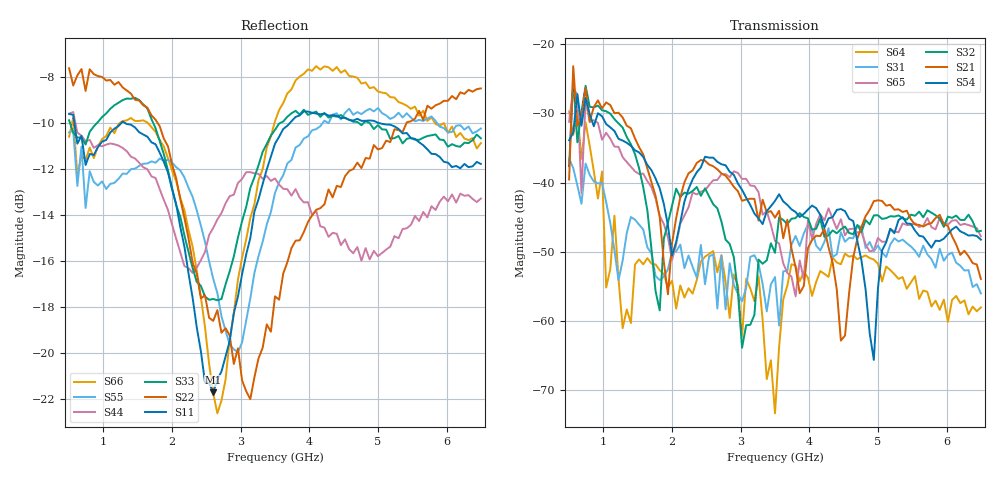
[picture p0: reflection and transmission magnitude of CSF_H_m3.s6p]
!Keysight Technologies,M9804A,MY58100912,A.14.10.03
!Date: Thursday, April 27, 2023 10:28:33
!Correction: S11(C  6-Port  )
!S12(C  6-Port  )
!S13(C  6-Port  )
!S14(C  6-Port  )
!S15(C  6-Port  )
!S16(C  6-Port  )
!S21(C  6-Port  )
!S22(C  6-Port  )
!S23(C  6-Port  )
!S24(C  6-Port  )
!S25(C  6-Port  )
!S26(C  6-Port  )
!S31(C  6-Port  )
!S32(C  6-Port  )
!S33(C  6-Port  )
!S34(C  6-Port  )
!S35(C  6-Port  )
!S36(C  6-Port  )
!S41(C  6-Port  )
!S42(C  6-Port  )
!S43(C  6-Port  )
!S44(C  6-Port  )
!S45(C  6-Port  )
!S46(C  6-Port  )
!S51(C  6-Port  )
!S52(C  6-Port  )
!S53(C  6-Port  )
!S54(C  6-Port  )
!S55(C  6-Port  )
!S56(C  6-Port  )
!S61(C  6-Port  )
!S62(C  6-Port  )
!S63(C  6-Port  )
!S64(C  6-Port  )
!S65(C  6-Port  )
!S66(C  6-Port  )
!S6P File: Measurement: :
# Hz S  RI  R 50
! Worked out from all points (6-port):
!   101 points, 500 MHz to 6.5 GHz, reference 50 ohm
!   strongest paths, dB at 500 MHz, 2 GHz, 3.5 GHz, 5 GHz, 6.5 GHz:
!     S54: -33.9, -50.6, -42.7, -55.3, -48.3
!     S21: -39.6, -48.8, -45.1, -42.6, -54.0
!     S32: -37.6, -43.3, -50.2, -44.7, -47.0
!     S65: -31.2, -51.2, -48.4, -48.0, -47.8
!     S31: -36.5, -50.0, -53.7, -49.1, -56.0
!     S64: -29.7, -54.2, -73.4, -51.7, -58.1
!   lowest |S11| = -21.7 dB at 2.6 GHz (marker M1), VSWR 1.18, Z = 42.7 + j2.05 ohm
!   |S11| at or under -10 dB: 577.1 MHz to 1.259 GHz (682.4 MHz wide, 74.3 % of centre); 1.317 GHz to 3.716 GHz (2.399 GHz wide, 95.3 % of centre); 5.019 GHz to end of sweep
